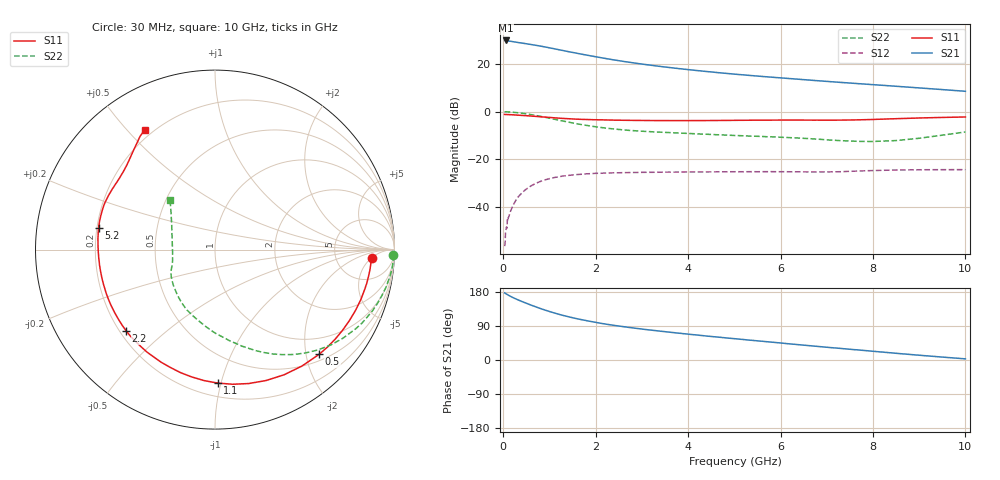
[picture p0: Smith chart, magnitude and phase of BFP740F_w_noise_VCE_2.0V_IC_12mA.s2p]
! Infineon Technologies  Discrete & RF Semiconductors
! BFP740F
! VCE =  2.0 V,  IC =  12 mA
! Common Emitter S-Parameters:  Oct 2012
# GHz  S  MA  R  50
!  f  S11  S21  S12  S22
! GHz  MAG  ANG  MAG  ANG  MAG  ANG  MAG  ANG
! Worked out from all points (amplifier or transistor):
!   99 points, 30 MHz to 10 GHz, reference 50 ohm
!   highest |S21| = 29.9 dB at 50 MHz (marker M1)
!   |S21| within 3 dB of that: start of sweep to 974.9 MHz
!   unconditionally stable (mu >= 1): 6.471 GHz to end of sweep
!   at 350 MHz: K = 0.09, MSG = 32.1 dB, |S12| = -35.2 dB
!   at 3.5 GHz: K = 0.54, MSG = 22.1 dB, |S12| = -25.4 dB
!   at 10 GHz: K = 1.27, MAG = 13.3 dB, |S12| = -24.3 dB
!   lowest NFmin = 0.48 dB at 450 MHz
!   S11 on the Smith chart (normalised r, x): 30 MHz: 13, -5; 500 MHz: 0.63, -2.26; 1.1 GHz: 0.29, -0.98; 2.2 GHz: 0.23, -0.37; 5.2 GHz: 0.21, +0.09; 10 GHz: 0.17, +0.56
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0.03  0.8736 -2.9  31.03 177.0  0.0015 82.8  0.9946 -1.7
0.05  0.8717 -4.8  31.26 175.6  0.0029 87.0  0.9953 -3.1
0.15  0.8638 -14.4  30.16 168.5  0.0078 81.5  0.9832 -9.5
0.25  0.8529 -23.5  29.07 162.5  0.0126 77.3  0.9639 -15.5
0.4  0.835 -36.7  27.61 154.6  0.0195 70.6  0.9272 -24.0
0.5  0.823 -45.1  26.64 149.8  0.0237 66.1  0.8993 -29.4
0.6  0.8096 -53.3  25.74 145.0  0.0276 61.9  0.8672 -34.7
0.8  0.7829 -68.7  23.86 136.0  0.0342 54.0  0.8 -44.4
0.9  0.7695 -75.9  22.89 131.9  0.0369 50.6  0.7645 -48.9
1.1  0.7438 -88.9  20.95 124.3  0.0413 44.4  0.6954 -57.3
1.4  0.7119 -105.6  18.3 114.5  0.0458 36.8  0.6065 -68.1
1.7  0.6889 -119.6  16.08 106.3  0.0485 31.4  0.5341 -77.6
1.9  0.6802 -127.3  14.8 101.6  0.05 28.3  0.4971 -83.5
2.2  0.6705 -137.6  13.15 95.1  0.0514 24.3  0.4547 -91.9
2.7  0.6579 -150.7  11 86.3  0.0526 19.8  0.4066 -102.9
3.4  0.6501 -164.7  8.906 76.0  0.0535 15.6  0.3713 -114.7
4.2  0.6495 -177.1  7.288 65.8  0.0544 12.5  0.3422 -124.6
5.1  0.6589 170.5  6.025 55.1  0.0548 10.3  0.3139 -135.4
5.2  0.6596 169.3  5.914 54.0  0.0548 10.0  0.3114 -136.5
6.7  0.6642 150.6  4.543 37.0  0.0543 8.3  0.2685 -155.2
8.5  0.7119 130.0  3.413 17.7  0.0596 8.2  0.2473 165.1
10  0.7738 120.4  2.68 3.0  0.0607 4.9  0.375 131.9
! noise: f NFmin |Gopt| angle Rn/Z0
0.45  0.48  0.16  5  0.24
0.9  0.53  0.17  13  0.13
1.5  0.6  0.18  23  0.06
1.9  0.64  0.17  33  0.05
2.4  0.69  0.17  47  0.05
3.5  0.8  0.14  69  0.13
5.5  0.99  0.09  140  0.21
10  1.39  0.38  -115  0.11
